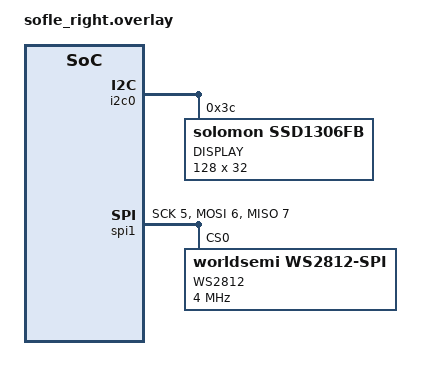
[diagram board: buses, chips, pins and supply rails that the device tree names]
// Sofle v2 — Prawa połowa (nice!nano v2)
// Enkoder prawy + OLED + RGB 36 diód SK6812

#include "sofle.dtsi"

// ── OLED SSD1306 128×32 ────────────────────────
&i2c0 {
    status = "okay";
    ssd1306: ssd1306@3c {
        compatible = "solomon,ssd1306fb";
        reg = <0x3c>;
        label = "DISPLAY";
        width = <128>;
        height = <32>;
        segment-offset = <0>;
        page-offset = <0>;
        display-offset = <0>;
        multiplex-ratio = <31>;
        com-sequential;
        prechargep = <0x22>;
    };
};

// ── RGB SK6812 — 36 diód prawa strona ─────────
&spi1 {
    compatible = "nordic,nrf-spim";
    status = "okay";
    mosi-pin = <6>;
    sck-pin = <5>;
    miso-pin = <7>;

    led_strip: ws2812@0 {
        compatible = "worldsemi,ws2812-spi";
        label = "WS2812";
        reg = <0>;
        spi-max-frequency = <4000000>;
        chain-length = <36>;
        spi-one-frame = <0x70>;
        spi-zero-frame = <0x40>;
        // SK6812 kolejność kolorów: GRB (tak samo jak WS2812B)
        color-mapping = <LED_COLOR_ID_GREEN
                         LED_COLOR_ID_RED
                         LED_COLOR_ID_BLUE>;
    };
};

// ── Enkoder prawy EC11 ─────────────────────────
right_encoder: encoder_right {
    compatible = "alps,ec11";
    label = "RIGHT_ENCODER";
    a-gpios = <&gpio0 22 (GPIO_ACTIVE_HIGH | GPIO_PULL_UP)>;
    b-gpios = <&gpio0 24 (GPIO_ACTIVE_HIGH | GPIO_PULL_UP)>;
    resolution = <4>;
    status = "okay";
};

// ── Matryca klawiszy — prawa 5×6 ──────────────
&kscan0 {
    col-gpios
        = <&pro_micro 9  GPIO_ACTIVE_HIGH>
        , <&pro_micro 8  GPIO_ACTIVE_HIGH>
        , <&pro_micro 7  GPIO_ACTIVE_HIGH>
        , <&pro_micro 6  GPIO_ACTIVE_HIGH>
        , <&pro_micro 5  GPIO_ACTIVE_HIGH>
        , <&pro_micro 4  GPIO_ACTIVE_HIGH>
        ;
    row-gpios
        = <&pro_micro 21 (GPIO_ACTIVE_HIGH | GPIO_PULL_DOWN)>
        , <&pro_micro 20 (GPIO_ACTIVE_HIGH | GPIO_PULL_DOWN)>
        , <&pro_micro 19 (GPIO_ACTIVE_HIGH | GPIO_PULL_DOWN)>
        , <&pro_micro 18 (GPIO_ACTIVE_HIGH | GPIO_PULL_DOWN)>
        , <&pro_micro 15 (GPIO_ACTIVE_HIGH | GPIO_PULL_DOWN)>
        ;
};

/ {
    chosen {
        zmk,display = &ssd1306;
        zmk,underglow = &led_strip;
    };
};
